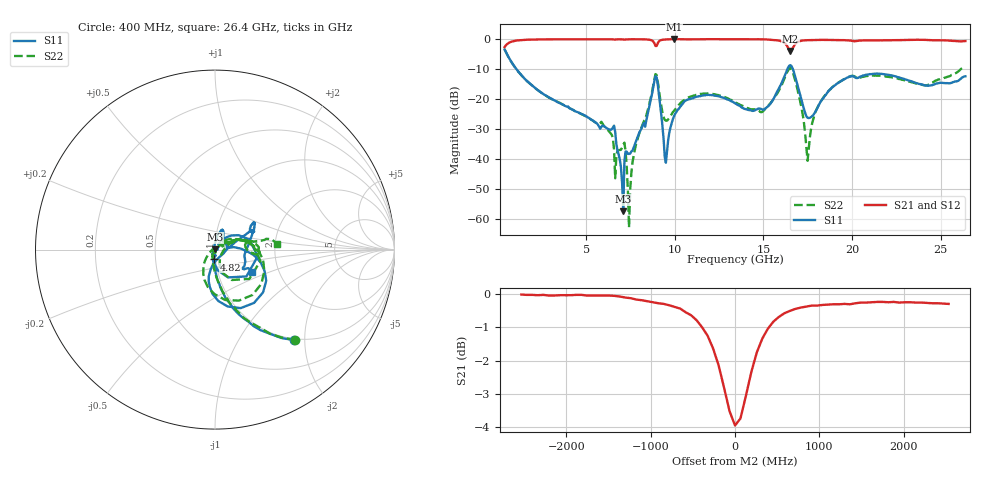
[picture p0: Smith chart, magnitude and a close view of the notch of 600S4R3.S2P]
!  American Technical Ceramics  Date:  10/26/00
!  One Norden Lane
!  Huntington Station,  NY.  11746-2102
!  Tel:  (631) 622-4700  Fax:  (631) 622-4748
!  Part Number  600S4R3  Mounting Orientation: Horizontal
!  Description: Ultra Low ESR Microwave capacitors
!  Application: Coupling, Bypass, Tuning, DC Block
!  Filters, Matching
# GHZ S DB R 50
! Freq  |S11|  S11 Ph  |S21|  S21 Ph  |S12|  S12 Ph  |S22|  S22 Ph
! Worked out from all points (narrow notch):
!   401 points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, 400 MHz to 26.4 GHz, reference 50 ohm
!   highest |S21| = 0.02 dB at 9.955 GHz (marker M1); lowest = -3.9 dB at 16.52 GHz (marker M2)
!   notch at M2: 3.7 dB deep, 428 MHz wide at half that depth
!   lowest |S11| = -57.5 dB at 7.095 GHz (marker M3), VSWR 1.00, Z = 50 + j0.124 ohm
!   |S11| at or under -10 dB: 1.065 GHz to 16.36 GHz (15.29 GHz wide, 176 % of centre); 16.66 GHz to end of sweep
!   |S22| runs from -62.9 to -3.4 dB; largest |S21 - S12| = 0.012
!   S11 on the Smith chart (normalised r, x): 400 MHz: 0.97, -1.79; 4.82 GHz: 0.98, -0.11; 26.4 GHz: 1.45, -0.39
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0.4  -3.46 -48.7  -2.65 41.1  -2.66 41.0  -3.43 -48.3
1.375  -12.23 -79.4  -0.28 9.9  -0.29 9.9  -12.21 -79.1
4.755  -24.98 -96.4  -0.03 -13.0  -0.04 -13.1  -25.10 -103.9
4.82  -25.18 -96.5  -0.02 -13.3  -0.03 -13.4  -25.31 -104.5
6.51  -29.53 -89.8  -0.09 -21.4  -0.10 -21.5  -33.08 -136.6
7.095  -57.51 68.7  -0.10 -23.7  -0.11 -23.8  -35.20 -81.8
7.485  -38.22 5.8  -0.04 -25.0  -0.05 -25.1  -50.31 57.2
7.81  -34.09 33.9  -0.04 -26.8  -0.04 -26.9  -35.22 46.9
8.85  -13.98 16.0  -1.36 -37.5  -1.35 -37.4  -13.38 6.2
9.11  -18.55 -81.5  -0.71 -23.0  -0.73 -23.3  -17.13 -70.9
9.5  -41.27 153.3  -0.10 -29.1  -0.11 -29.2  -27.24 -29.6
9.955  -25.78 84.9  0.02 -32.5  0.00 -32.6  -23.98 12.6
11.255  -19.19 72.9  -0.05 -39.0  -0.07 -39.2  -18.60 22.9
13.4  -21.40 56.7  -0.04 -48.7  -0.06 -48.8  -21.07 26.2
15.155  -22.92 9.7  -0.09 -58.1  -0.11 -58.3  -23.02 42.2
16.52  -8.68 -53.8  -3.94 -60.4  -3.87 -60.5  -9.68 -50.3
17.04  -17.85 -102.8  -0.70 -52.2  -0.73 -52.4  -19.75 -127.3
17.43  -25.81 -70.8  -0.36 -57.2  -0.40 -57.3  -36.28 -179.9
17.755  -25.68 -23.6  -0.32 -59.5  -0.33 -59.7  -28.06 42.7
19.315  -14.21 26.5  -0.32 -68.6  -0.32 -68.9  -14.20 14.5
22.11  -11.95 29.8  -0.38 -81.0  -0.40 -81.3  -12.64 -6.3
26.4  -12.40 -31.6  -0.64 -102.8  -0.68 -103.3  -9.24 5.2
